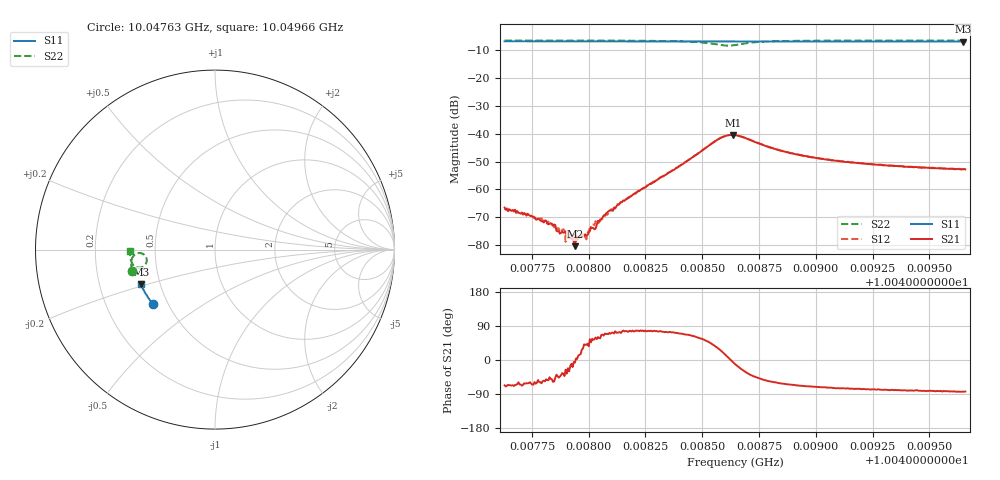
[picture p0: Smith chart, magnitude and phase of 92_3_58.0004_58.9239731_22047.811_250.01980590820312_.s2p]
#  HZ  S  RI  R  50.00
! Rohde & Schwarz Vector Network Analyzer
! Rohde-Schwarz,ZNB20-2Port,1311601062101988,3.16
! Created: UTC 3/21/2024, 12:54:21 AM
! freq[Hz]  re:S11  im:S11  re:S21  im:S21  re:S12  im:S12  re:S22  im:S22
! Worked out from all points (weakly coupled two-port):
!   401 points, 10.04763 GHz to 10.04966 GHz, reference 50 ohm
!   highest |S21| = -40.41 dB at 10.04863 GHz (marker M1); lowest = -80.4 dB at 10.04794 GHz (marker M2)
!   lowest |S11| = -6.8 dB at 10.04965 GHz (marker M3), VSWR 2.68, Z = 19.4 - j9.44 ohm
!   |S11| at or under -10 dB: nowhere
!   |S22| runs from -8.3 to -6.4 dB; largest |S21 - S12| = 0.0007
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1.004763e10  -0.3441 -0.3054  0.000186 -0.000434  0.000206 -0.000401  -0.4617 -0.1186
1.0047782e10  -0.3505 -0.2976  0.000155 -0.000251  0.000183 -0.000223  -0.4637 -0.1073
1.0047843e10  -0.3529 -0.2942  0.000119 -0.000189  0.000149 -0.000177  -0.4646 -0.1024
1.0047868e10  -0.3539 -0.2928  0.000122 -0.000128  0.000166 -0.000112  -0.465 -0.1004
1.0047893e10  -0.355 -0.2915  0.000124 -0.000113  0.00015 -9.72e-05  -0.4651 -0.0983
1.0047909e10  -0.3556 -0.2908  0.000124 -4.95e-05  0.000126 -4.61e-05  -0.4653 -0.0972
1.0047914e10  -0.3558 -0.2905  0.000116 -6.71e-05  0.000139 -6.6e-05  -0.4653 -0.0967
1.0047939e10  -0.3568 -0.2891  9.47e-05 -1.17e-05  0.000156 4.48e-05  -0.4655 -0.0944
1.0047969e10  -0.3581 -0.2875  0.000133 6.84e-05  0.000137 6.72e-05  -0.4658 -0.092
1.0047985e10  -0.3586 -0.2867  0.00012 0.0001  0.000111 8.46e-05  -0.466 -0.0907
1.004802e10  -0.3601 -0.2849  0.000121 0.000162  0.000146 0.000184  -0.4664 -0.0877
1.0048076e10  -0.3622 -0.2819  0.000133 0.000341  0.000116 0.000351  -0.4666 -0.0825
1.0048127e10  -0.3643 -0.2792  0.000163 0.000502  0.00011 0.000532  -0.4668 -0.0777
1.0048309e10  -0.3713 -0.2692  0.000406 0.00152  0.000306 0.00153  -0.4645 -0.0563
1.0048568e10  -0.38 -0.2543  0.0067 0.00414  0.00647 0.00451  -0.4014 -0.024
1.0048634e10  -0.382 -0.2512  0.00951 -0.000816  0.00958 -0.000187  -0.3819 -0.0716
1.0048644e10  -0.3823 -0.2507  0.00928 -0.00177  0.00944 -0.00112  -0.3853 -0.0793
1.0048837e10  -0.3894 -0.2401  0.00247 -0.00443  0.00279 -0.00432  -0.4566 -0.0834
1.0048984e10  -0.3945 -0.2316  0.00128 -0.00354  0.0015 -0.00349  -0.4676 -0.0631
1.0049324e10  -0.405 -0.2116  0.000499 -0.00263  0.000674 -0.00261  -0.4742 -0.031
1.0049649e10  -0.4138 -0.1922  0.000252 -0.00228  0.000383 -0.0023  -0.4754 -0.00592
1.0049659e10  -0.4141 -0.1915  0.000274 -0.00228  0.000381 -0.00227  -0.4755 -0.00524
